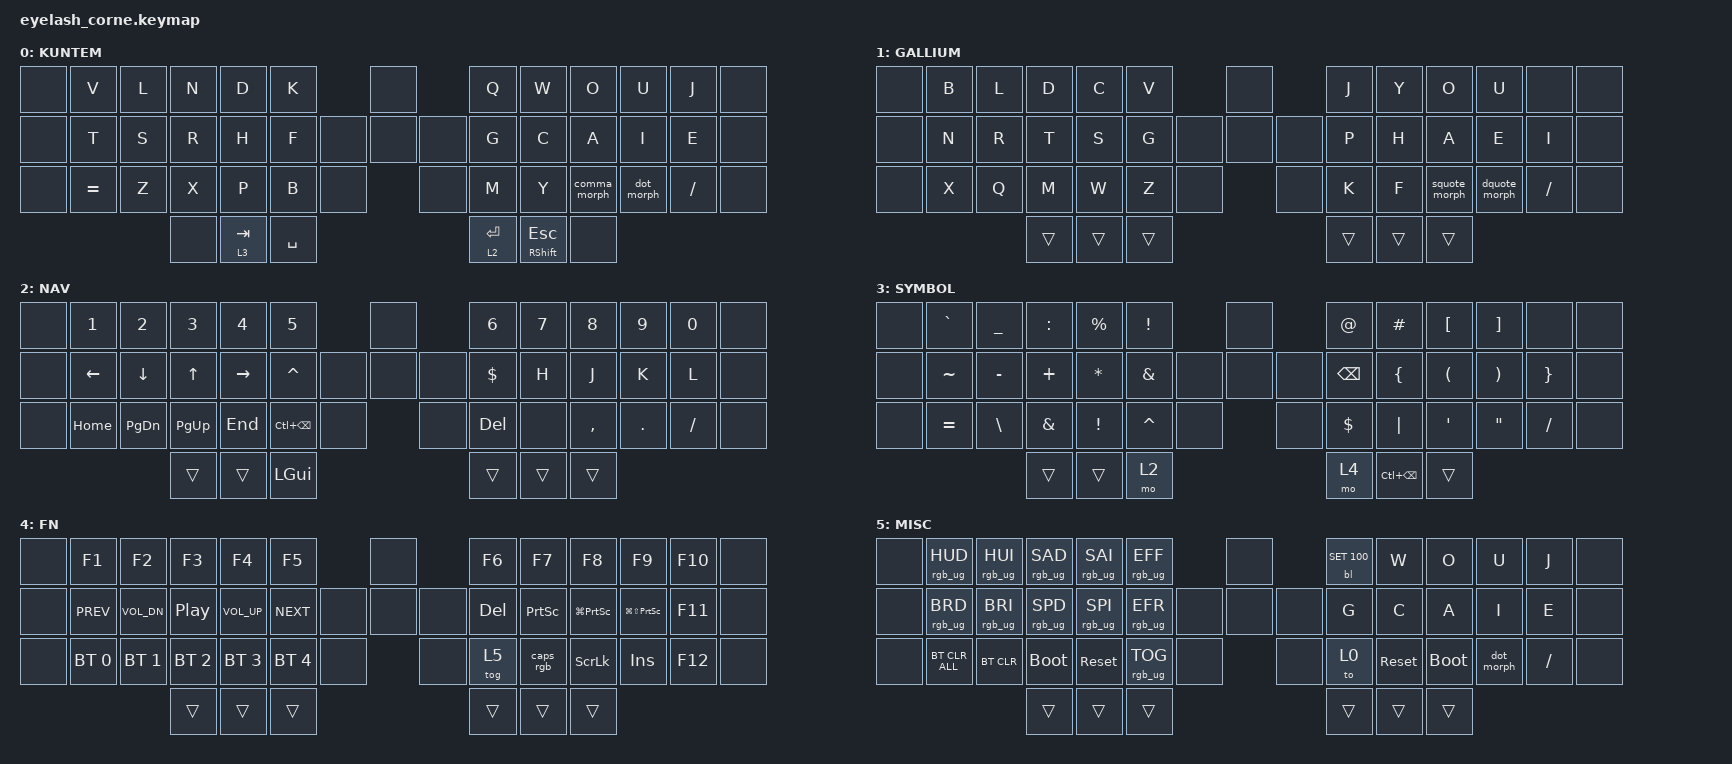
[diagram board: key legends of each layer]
#define ZMK_POINTING_DEFAULT_MOVE_VAL 1200  // 600
#define ZMK_POINTING_DEFAULT_SCRL_VAL 25   // 10

//#include <input/processors.dtsi>

#include <zephyr/dt-bindings/input/input-event-codes.h>

//#include <behaviors/runtime-sensor-rotate.dtsi>

#include <behaviors.dtsi>
#include <dt-bindings/zmk/backlight.h>
#include <dt-bindings/zmk/bt.h>
#include <dt-bindings/zmk/keys.h>
#include <dt-bindings/zmk/rgb.h>

&soft_off { hold-time-ms = <2000>; };

/ {
    behaviors {
        td0: td0 {
            compatible = "zmk,behavior-tap-dance";
            display-name = "Shift/Caps Lock Tap Dance";
            #binding-cells = <0>;
            bindings = <&kp LEFT_SHIFT>, <&caps_rgb>;
        };

        caps_rgb: caps_rgb {
            compatible = "zmk,behavior-macro";
            display-name = "Caps Lock + RGB Toggle";
            #binding-cells = <0>;
            bindings = <&kp CAPS &rgb_ug RGB_TOG>;
        };

        num_func: num_func {
            compatible = "zmk,behavior-macro";
            #binding-cells = <0>;
            bindings = <&none>;
            label = "NUM_FUNC";
        };

        comma_morph: comma_morph {
            compatible = "zmk,behavior-mod-morph";
            display-name = "Comma Morph";
            #binding-cells = <0>;
            bindings = <&kp LESS_THAN>, <&kp COMMA>;

            mods = <(MOD_LSFT|MOD_RSFT)>;
        };

        dot_morph: dot_morph {
            compatible = "zmk,behavior-mod-morph";
            display-name = "Dot Morph";
            #binding-cells = <0>;
            bindings = <&kp GREATER_THAN>, <&kp DOT>;

            mods = <(MOD_LSFT|MOD_RSFT)>;
        };

        hmr: hmr {
            compatible = "zmk,behavior-hold-tap";
            label = "HMR";
            bindings = <&kp>, <&kp>;

            #binding-cells = <2>;
            hold-trigger-key-positions = <5 4 3 2 1 0 13 14 15 16 17 18 33 32 31 30 29 28 47>;
            flavor = "balanced";
            tapping-term-ms = <280>;
            quick-tap-ms = <175>;
            require-prior-idle-ms = <80>;
            hold-trigger-on-release;
        };

        hml: hml {
            compatible = "zmk,behavior-hold-tap";
            label = "HML";
            bindings = <&kp>, <&kp>;

            #binding-cells = <2>;
            flavor = "balanced";
            tapping-term-ms = <280>;
            quick-tap-ms = <175>;
            require-prior-idle-ms = <80>;
            hold-trigger-on-release;
            hold-trigger-key-positions = <7 8 9 10 11 12 22 23 24 25 26 27 36 37 38 39 40 41 47>;
        };

        pos_fast_hold_tap: pos_fast_hold_tap {
            compatible = "zmk,behavior-hold-tap";
            label = "POS_FAST_HOLD_TAP";
            bindings = <&kp>, <&kp>;

            #binding-cells = <2>;
            tapping-term-ms = <115>;
            flavor = "balanced";
            hold-trigger-key-positions = <0 1 2 3 4 5 13 14 15 16 17 18 28 29 30 31 32 33 7 8 9 10 11 12 22 23 24 25 26 27 36 37 38 39 40 41 45 46>;
            quick-tap-ms = <115>;
        };

        fast_th: fast_th {
            compatible = "zmk,behavior-hold-tap";
            label = "FAST_TH";
            bindings = <&kp>, <&kp>;

            #binding-cells = <2>;
            tapping-term-ms = <115>;
            flavor = "balanced";
            quick-tap-ms = <115>;
        };

        sticky_fast_layer_tap: sticky_fast_layer_tap {
            compatible = "zmk,behavior-hold-tap";
            label = "STICKY_FAST_LAYER_TAP";
            bindings = <&sl>, <&kp>;

            #binding-cells = <2>;
            tapping-term-ms = <140>;
            flavor = "tap-preferred";
            quick-tap-ms = <140>;
        };

        gui_x: gui_x {
            compatible = "zmk,behavior-hold-tap";
            label = "GUI_X";
            bindings = <&kp>, <&kp>;

            #binding-cells = <2>;
            tapping-term-ms = <130>;
            flavor = "balanced";
            hold-trigger-key-positions = <0 1 2 3 4 5 13 14 15 16 17 18 28 29 30 31 32 33 7 8 9 10 11 12 22 23 24 25 26 27 36 37 38 39 40 41 45 46>;
            quick-tap-ms = <130>;
        };

        sh_x: sh_x {
            compatible = "zmk,behavior-hold-tap";
            label = "SH_X";
            bindings = <&kp>, <&kp>;

            #binding-cells = <2>;
            tapping-term-ms = <130>;
            flavor = "balanced";
            hold-trigger-key-positions = <0 1 2 3 4 5 13 14 15 16 17 18 28 29 30 31 32 33 7 8 9 10 11 12 22 23 24 25 26 27 36 37 38 39 40 41 45 42>;
            quick-tap-ms = <130>;
        };

        dquote_morph: dquote_morph {
            compatible = "zmk,behavior-mod-morph";
            display-name = "Dot Morph";
            #binding-cells = <0>;
            bindings = <&kp GREATER_THAN>, <&kp DOUBLE_QUOTES>;

            mods = <(MOD_LSFT|MOD_RSFT)>;
            label = "DQUOTE_MORPH";
        };

        squote_morph: squote_morph {
            compatible = "zmk,behavior-mod-morph";
            display-name = "Dot Morph";
            #binding-cells = <0>;
            bindings = <&kp LESS_THAN>, <&kp SINGLE_QUOTE>;

            mods = <(MOD_LSFT|MOD_RSFT)>;
            label = "SQUOTE_MORPH";
        };

        sticky_sh_x: sticky_sh_x {
            compatible = "zmk,behavior-hold-tap";
            label = "STICKY_SH_X";
            bindings = <&sk>, <&kp>;

            #binding-cells = <2>;
            tapping-term-ms = <130>;
            flavor = "balanced";
            hold-trigger-key-positions = <0 1 2 3 4 5 13 14 15 16 17 18 28 29 30 31 32 33 7 8 9 10 11 12 22 23 24 25 26 27 36 37 38 39 40 41 45 42>;
            quick-tap-ms = <130>;
        };

        slow_layer_tap: slow_layer_tap {
            compatible = "zmk,behavior-hold-tap";
            label = "SLOW_LAYER_TAP";
            bindings = <&mo>, <&kp>;

            #binding-cells = <2>;
            flavor = "tap-preferred";
            tapping-term-ms = <350>;
        };

        medium_layer_tap: medium_layer_tap {
            compatible = "zmk,behavior-hold-tap";
            label = "MEDIUM_LAYER_TAP";
            bindings = <&mo>, <&kp>;

            #binding-cells = <2>;
            flavor = "tap-preferred";
            tapping-term-ms = <275>;
        };

        fast_layer_tap: fast_layer_tap {
            compatible = "zmk,behavior-hold-tap";
            label = "FAST_LAYER_TAP";
            bindings = <&sl>, <&kp>;

            #binding-cells = <2>;
            tapping-term-ms = <140>;
            flavor = "tap-preferred";
            quick-tap-ms = <140>;
        };

        med_fast_tap_hold: med_fast_tap_hold {
            compatible = "zmk,behavior-hold-tap";
            label = "MED_FAST_TAP_HOLD";
            bindings = <&kp>, <&kp>;

            #binding-cells = <2>;
            tapping-term-ms = <275>;
            flavor = "balanced";
            quick-tap-ms = <275>;
        };

        med_layer_tap: med_layer_tap {
            compatible = "zmk,behavior-hold-tap";
            label = "MED_LAYER_TAP";
            bindings = <&kp>, <&kp>;

            #binding-cells = <2>;
            tapping-term-ms = <300>;
            flavor = "balanced";
            quick-tap-ms = <300>;
        };

        space_x: space_x {
            compatible = "zmk,behavior-hold-tap";
            label = "SPACE_X";
            bindings = <&kp>, <&kp>;

            #binding-cells = <2>;
            tapping-term-ms = <275>;
            flavor = "tap-preferred";
            quick-tap-ms = <275>;
        };

        space_x_slow: space_x_slow {
            compatible = "zmk,behavior-hold-tap";
            label = "SPACE_X_SLOW";
            bindings = <&kp>, <&kp>;

            #binding-cells = <2>;
            tapping-term-ms = <300>;
            flavor = "tap-preferred";
            quick-tap-ms = <300>;
        };

        /**/
        /*     rsr_vol: rsr_vol { */
        /*         compatible = "zmk,behavior-runtime-sensor-rotate"; */
        /*         #sensor-binding-cells = <0>; */
        /*         tap-ms = <5>; */
        /*         cw-binding = <&kp C_VOL_UP>; */
        /*         ccw-binding = <&kp C_VOL_DN>; */
        /*     }; */
        /**/
        /*     rsr_trans: rsr_trans { */
        /*         compatible = "zmk,behavior-runtime-sensor-rotate"; */
        /*         #sensor-binding-cells = <0>; */
        /*         tap-ms = <0>; */
        /*     }; */
    };

    combos {
        compatible = "zmk,combos";

        softoff {
            bindings = <&soft_off>;
            key-positions = <1 15 29>;
        };

        r_gui {
            bindings = <&kp RGUI>;
            key-positions = <23 24 25>;
            timeout-ms = <100>;
        };

        l_gui {
            bindings = <&kp LGUI>;
            key-positions = <15 16 17>;
            timeout-ms = <100>;
        };

        L_ALT {
            bindings = <&sk LALT>;
            key-positions = <15 14 16>;
        };

        R_ALT {
            bindings = <&sk RALT>;
            key-positions = <24 25 26>;
        };

        semicolon {
            bindings = <&kp SEMI>;
            key-positions = <39 38>;
            timeout-ms = <60>;
        };

        single_quote {
            bindings = <&kp SINGLE_QUOTE>;
            key-positions = <17 4>;
        };

        double_quotes {
            bindings = <&kp DOUBLE_QUOTES>;
            key-positions = <8 23>;
        };

        capslock {
            bindings = <&kp CAPSLOCK>;
            key-positions = <30 39>;
        };

        undo {
            bindings = <&kp LC(Z)>;
            key-positions = <3 2>;
            layers = <3>;
        };

        redo {
            bindings = <&kp LC(Y)>;
            key-positions = <3 4>;
            layers = <3>;
        };

        select_all {
            bindings = <&kp LC(A)>;
            key-positions = <15 16>;
            layers = <3>;
        };

        cut {
            bindings = <&kp LC(X)>;
            key-positions = <15 17>;
            layers = <3>;
        };

        copy {
            bindings = <&kp LC(C)>;
            key-positions = <17 16>;
            layers = <3>;
        };

        paste {
            bindings = <&kp LC(V)>;
            key-positions = <31 32>;
            layers = <3>;
        };

        ter_paste {
            bindings = <&kp LC(LS(V))>;
            key-positions = <31 30>;
            layers = <3>;
        };

        ter_copy {
            bindings = <&kp LC(LS(C))>;
            key-positions = <16 18>;
            layers = <3>;
        };

        L_SHIFT {
            bindings = <&sk LSHFT>;
            key-positions = <15 16 18>;
            timeout-ms = <120>;
        };

        R_SHIFT {
            bindings = <&sk RSHFT>;
            key-positions = <25 24 22>;
            timeout-ms = <120>;
        };

        tog_gallium {
            bindings = <&tog 1>;
            key-positions = <2 3 4 1>;
        };

        l_ctrl+l_alt {
            bindings = <&kp LC(LALT)>;
            key-positions = <14 15 16 17>;
        };

        r_ctrl+r_alt {
            bindings = <&kp LC(LALT)>;
            key-positions = <24 25 26 23>;
        };

        r_tab {
            bindings = <&kp TAB>;
            key-positions = <8 9 10>;
            timeout-ms = <85>;
        };

        l_tab {
            bindings = <&kp TAB>;
            key-positions = <2 3 4>;
            timeout-ms = <85>;
        };

        l_ctrl {
            bindings = <&kp LCTRL>;
            key-positions = <31 32>;
            layers = <2 0 5 1 4>;
            timeout-ms = <130>;
        };

        r_ctrl {
            bindings = <&kp RCTRL>;
            key-positions = <37 38>;
            layers = <2 0 5 1 4>;
            timeout-ms = <130>;
        };

        shift {
            bindings = <&sk LSHIFT>;
            key-positions = <44 45>;
            timeout-ms = <70>;
        };
    };

    macros {
    };

    keymap {
        compatible = "zmk,keymap";

        kuntem {
            display-name = "KUNTEM";
            bindings = <
&none  &kp V      &kp L  &kp N  &kp D                         &kp K                      &none         &kp Q                    &kp W                     &kp O         &kp U       &kp J      &none
&none  &kp T      &kp S  &kp R  &kp H                         &kp F               &none  &none  &none  &kp G                    &kp C                     &kp A         &kp I       &kp E      &none
&none  &kp EQUAL  &kp Z  &kp X  &kp P                         &kp B      &none           &none         &kp M                    &kp Y                     &comma_morph  &dot_morph  &kp SLASH  &none
                         &none  &sticky_fast_layer_tap 3 TAB  &kp SPACE                                &fast_layer_tap 2 ENTER  &sh_x RIGHT_SHIFT ESCAPE  &none
            >;
        };

        gallium {
            bindings = <
&none  &kp B  &kp L  &kp D   &kp C   &kp V                   &none         &kp J   &kp Y   &kp O          &kp U          &none     &none
&none  &kp N  &kp R  &kp T   &kp S   &kp G            &none  &none  &none  &kp P   &kp H   &kp A          &kp E          &kp I     &none
&none  &kp X  &kp Q  &kp M   &kp W   &kp Z   &none           &none         &kp K   &kp F   &squote_morph  &dquote_morph  &kp FSLH  &none
                     &trans  &trans  &trans                                &trans  &trans  &trans
            >;

            label = "GALLIUM";
        };

        nav {
            display-name = "NAV";
            bindings = <
&none  &kp N1    &kp N2         &kp N3       &kp N4     &kp N5                             &none         &kp N6      &kp N7  &kp N8     &kp N9      &kp N0     &none
&none  &kp LEFT  &kp DOWN       &kp UP       &kp RIGHT  &kp CARET                   &none  &none  &none  &kp DOLLAR  &kp H   &kp J      &kp K       &kp L      &none
&none  &kp HOME  &kp PAGE_DOWN  &kp PAGE_UP  &kp END    &kp LC(BACKSPACE)  &none           &none         &kp DELETE  &none   &kp COMMA  &kp PERIOD  &kp SLASH  &none
                                &trans       &trans     &kp LEFT_GUI                                     &trans      &trans  &trans
            >;
        };

        symbol {
            display-name = "SYMBOL";
            bindings = <
&none  &kp GRAVE  &kp UNDER      &kp COLON  &kp PRCNT  &kp EXCL                       &none         &kp AT         &kp HASH           &kp LEFT_BRACKET  &kp RIGHT_BRACKET  &none      &none
&none  &kp TILDE  &kp MINUS      &kp PLUS   &kp ASTRK  &kp AMPERSAND           &none  &none  &none  &kp BACKSPACE  &kp LBRC           &kp LPAR          &kp RPAR           &kp RBRC   &none
&none  &kp EQUAL  &kp BACKSLASH  &kp AMPS   &kp EXCL   &kp CARET      &none           &none         &kp DOLLAR     &kp PIPE           &kp SINGLE_QUOTE  &kp DOUBLE_QUOTES  &kp SLASH  &none
                                 &trans     &trans     &mo 2                                        &mo 4          &kp LC(BACKSPACE)  &trans
            >;
        };

        fn {
            display-name = "FN";
            bindings = <
&none  &kp F1        &kp F2        &kp F3            &kp F4        &kp F5                        &none         &kp F6      &kp F7           &kp F8               &kp F9                   &kp F10  &none
&none  &kp C_PREV    &kp C_VOL_DN  &kp C_PLAY_PAUSE  &kp C_VOL_UP  &kp C_NEXT             &none  &none  &none  &kp DELETE  &kp PRINTSCREEN  &kp LG(PRINTSCREEN)  &kp LG(LS(PRINTSCREEN))  &kp F11  &none
&none  &bt BT_SEL 0  &bt BT_SEL 1  &bt BT_SEL 2      &bt BT_SEL 3  &bt BT_SEL 4  &none           &none         &tog 5      &caps_rgb        &kp SCROLLLOCK       &kp INSERT               &kp F12  &none
                                   &trans            &trans        &trans                                      &trans      &trans           &trans
            >;
        };

        misc {
            display-name = "MISC";
            bindings = <
&none  &rgb_ug RGB_HUD  &rgb_ug RGB_HUI  &rgb_ug RGB_SAD  &rgb_ug RGB_SAI  &rgb_ug RGB_EFF                  &none         &bl BL_SET 100  &kp W       &kp O        &kp U       &kp J      &none
&none  &rgb_ug RGB_BRD  &rgb_ug RGB_BRI  &rgb_ug RGB_SPD  &rgb_ug RGB_SPI  &rgb_ug RGB_EFR           &none  &none  &none  &kp G           &kp C       &kp A        &kp I       &kp E      &none
&none  &bt BT_CLR_ALL   &bt BT_CLR       &bootloader      &sys_reset       &rgb_ug RGB_TOG  &none           &none         &to 0           &sys_reset  &bootloader  &dot_morph  &kp SLASH  &none
                                         &trans           &trans           &trans                                         &trans          &trans      &trans
            >;
        };
    };
};
